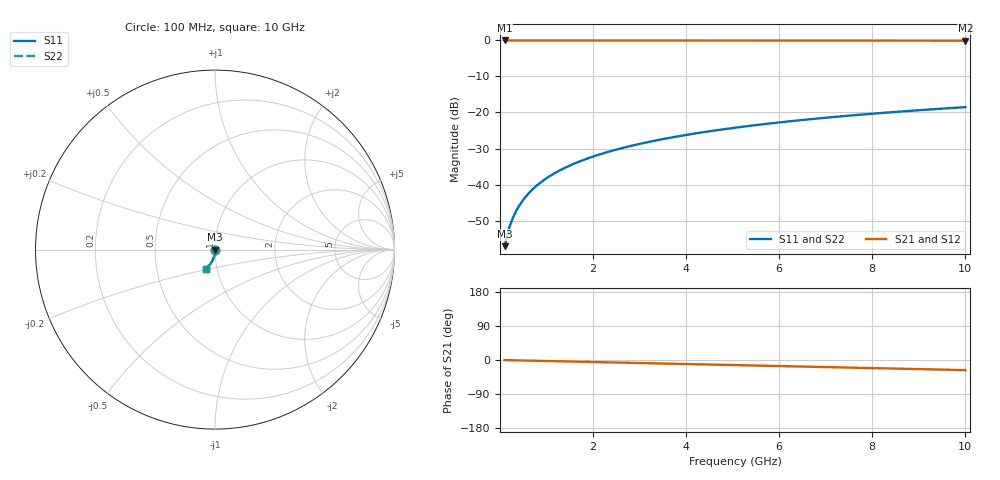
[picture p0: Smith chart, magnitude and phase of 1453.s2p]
# Hz S RI R 50.00
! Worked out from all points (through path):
!   100 points, 100 MHz to 10 GHz, reference 50 ohm
!   highest |S21| = -0.01 dB at 100 MHz (marker M1); lowest = -0.1 dB at 10 GHz (marker M2)
!   group delay of S21, straight-line fit = 7.42 ps
!   lowest |S11| = -57.1 dB at 100 MHz (marker M3), VSWR 1.00, Z = 50.1 - j0.123 ohm
!   |S11| at or under -10 dB: start of sweep to end of sweep
!   |S22| runs from -57.1 to -18.5 dB; largest |S21 - S12| = 0
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1e8  0.000668 -0.00122  0.9993 -0.00463  0.9993 -0.00463  0.000668 -0.00122
2e8  0.000653 -0.00245  0.9993 -0.00927  0.9993 -0.00927  0.000653 -0.00245
3e8  0.000625 -0.00367  0.9992 -0.0139  0.9992 -0.0139  0.000625 -0.00367
4e8  0.000586 -0.0049  0.9991 -0.0185  0.9991 -0.0185  0.000586 -0.0049
5e8  0.000534 -0.00612  0.999 -0.0232  0.999 -0.0232  0.000534 -0.00612
6e8  0.000471 -0.00734  0.9989 -0.0278  0.9989 -0.0278  0.000471 -0.00734
7e8  0.000397 -0.00857  0.9987 -0.0324  0.9987 -0.0324  0.000397 -0.00857
8e8  0.000311 -0.00979  0.9985 -0.0371  0.9985 -0.0371  0.000311 -0.00979
9e8  0.000213 -0.011  0.9983 -0.0417  0.9983 -0.0417  0.000213 -0.011
1.1e9  -1.6e-05 -0.0135  0.9979 -0.051  0.9979 -0.051  -1.6e-05 -0.0135
1.4e9  -0.000445 -0.0171  0.997 -0.0648  0.997 -0.0648  -0.000445 -0.0171
1.8e9  -0.00118 -0.022  0.9955 -0.0833  0.9955 -0.0833  -0.00118 -0.022
2.1e9  -0.00184 -0.0256  0.9942 -0.0972  0.9942 -0.0972  -0.00184 -0.0256
2.5e9  -0.00289 -0.0304  0.992 -0.1156  0.992 -0.1156  -0.00289 -0.0304
2.9e9  -0.00412 -0.0352  0.9895 -0.134  0.9895 -0.134  -0.00412 -0.0352
3.4e9  -0.0059 -0.0411  0.9859 -0.157  0.9859 -0.157  -0.0059 -0.0411
4.2e9  -0.00932 -0.0503  0.9789 -0.1935  0.9789 -0.1935  -0.00932 -0.0503
5.1e9  -0.014 -0.0604  0.9693 -0.2342  0.9693 -0.2342  -0.014 -0.0604
5.9e9  -0.0188 -0.069  0.9592 -0.2701  0.9592 -0.2701  -0.0188 -0.069
6.7e9  -0.0243 -0.0773  0.9477 -0.3055  0.9477 -0.3055  -0.0243 -0.0773
8.4e9  -0.0379 -0.0933  0.9188 -0.379  0.9188 -0.379  -0.0379 -0.0933
1e10  -0.0528 -0.1061  0.8861 -0.4457  0.8861 -0.4457  -0.0528 -0.1061
